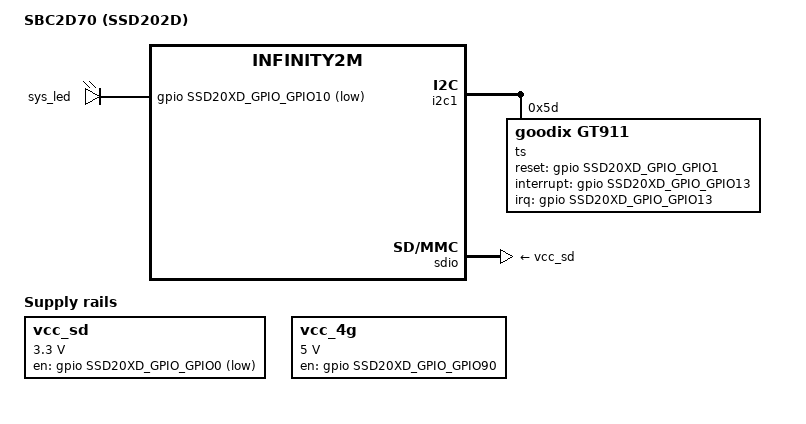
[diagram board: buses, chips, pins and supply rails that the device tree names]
// SPDX-License-Identifier: GPL-2.0-or-later
/*
 * Copyright (c) 2020 thingy.jp.
 * Author: Daniel Palmer <daniel@thingy.jp>
 */

/dts-v1/;
#include "mstar-infinity2m-ssd202d-wirelesstag-ido-som2d01.dtsi"

/ {
	model = "SBC2D70 (SSD202D)";
	compatible = "ido,sbc2d70", "mstar,infinity2m";

	leds {
		compatible = "gpio-leds";
		sys_led {
			gpios = <&gpio SSD20XD_GPIO_GPIO10 GPIO_ACTIVE_LOW>;
			linux,default-trigger = "activity";
		};
	};

	vcc_sd: regulator@3 {
		compatible = "regulator-fixed";
		regulator-name = "vcc_sd";
		regulator-type = "voltage";
		regulator-min-microvolt = <3300000>;
		regulator-max-microvolt = <3300000>;
		gpios = <&gpio SSD20XD_GPIO_GPIO0 0>;
	};

	vcc_4g: regulator@4 {
		compatible = "regulator-fixed";
		regulator-name = "vcc_4g";
		regulator-type = "voltage";
		regulator-min-microvolt = <5000000>;
		regulator-max-microvolt = <5000000>;
		gpios = <&gpio SSD20XD_GPIO_GPIO90 0>;
		enable-active-high;
	};
};

&i2c1 {
	pinctrl-names = "default";
	pinctrl-0 = <&i2c1_mode1_pins>;
	status = "okay";

	ts@48 {
		compatible = "ti,tsc2007";
		reg = <0x48>;
		status = "disabled";
	};

	ts@5d {
		compatible = "goodix,gt911";
		reg = <0x5d>;
		interrupts-extended = <&gpio SSD20XD_GPIO_GPIO13 IRQ_TYPE_EDGE_FALLING>;
		reset-gpios = <&gpio SSD20XD_GPIO_GPIO1 GPIO_ACTIVE_HIGH>;
		interrupt-gpios = <&gpio SSD20XD_GPIO_GPIO13 GPIO_ACTIVE_HIGH>;
	};
};

&sdio {
	vmmc-supply = <&vcc_sd>;
	pinctrl-0 = <&sdio_mode1_8ma_pins>;
	status = "okay";
};
